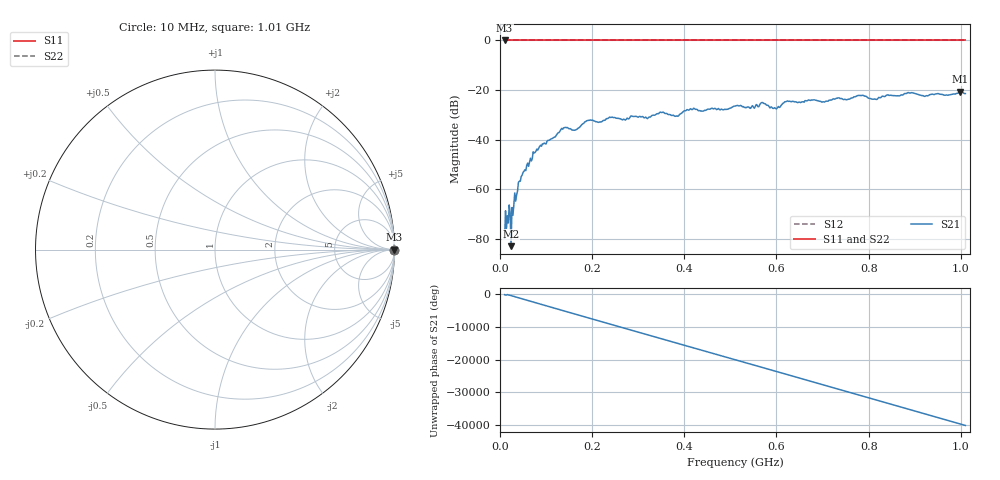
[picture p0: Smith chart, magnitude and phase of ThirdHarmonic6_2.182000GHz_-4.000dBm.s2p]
! 8/17/2025 2:01:18 AM
! C:\ANRITSUVNA\TEMP\TEMP.S2P
! CHANNEL.1
! TR.MEASUREMENT
! RAW.DATA
! RF.CORRECTION.OFF
! AVERAGING.OFF
! IF.BANDWIDTH: 5KHZ
! SWEEPTYPE:  FREQ.SWEEP(Linear)
! Reference Plane Port Info
! PORT:  PORT1  PORT2
! DISTANCE:  0  m  0  m
! TIME:  0  s  0  s
! PHASE.OFFSET:  0  deg.  0  deg.
! LOSS:  0  dB  0  dB
! REF.LOSS:  0  dB  0  dB
! REF.FREQ:  0  Hz  0  Hz
! Power Info
! POWER:  -20  dBm  -20  dBm
! EFF.POWER:  -20  dBm  -20  dBm
! SOURCE.ATTEN:  0  dB  0  dB
! TEST.ATTEN:  0  dB  0  dB
# GHZ S RI R 50.0
! FREQ.GHZ  S11RE  S11IM  S21RE  S21IM  S12RE  S12IM  S22RE  S22IM
!; PortSelection: Port_12
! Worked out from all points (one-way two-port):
!   501 points, 10 MHz to 1.01 GHz, reference 50 ohm
!   highest |S21| = -20.67 dB at 998 MHz (marker M1); lowest = -82.9 dB at 24 MHz (marker M2)
!   lowest |S11| = 0.0 dB at 10 MHz (marker M3)
!   |S11| at or under -10 dB: nowhere
!   |S22| runs from 0.0 to 0.0 dB; largest |S21 - S12| = 1.1
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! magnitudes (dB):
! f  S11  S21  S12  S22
! 10 MHz  0.0  -79.7  0.0  0.0
! 16 MHz  0.0  -70.7  0.0  0.0
! 24 MHz  0.0  -82.9  0.0  0.0
! 26 MHz  0.0  -67.4  0.0  0.0
! 30 MHz  0.0  -66.4  0.0  0.0
! 44 MHz  0.0  -56.8  0.0  0.0
! 76 MHz  0.0  -45.2  0.0  0.0
! 136 MHz  0.0  -35.8  0.0  0.0
! 162 MHz  0.0  -36.2  0.0  0.0
! 178 MHz  0.0  -33.9  0.0  0.0
! 192 MHz  0.0  -32.2  0.0  0.0
! 344 MHz  0.0  -29.6  0.0  0.0
! 384 MHz  0.0  -30.5  0.0  0.0
! 416 MHz  0.0  -27.9  0.0  0.0
! 510 MHz  0.0  -26.5  0.0  0.0
! 570 MHz  0.0  -25.0  0.0  0.0
! 596 MHz  0.0  -27.1  0.0  0.0
! 622 MHz  0.0  -24.6  0.0  0.0
! 678 MHz  0.0  -24.0  0.0  0.0
! 844 MHz  0.0  -22.1  0.0  0.0
! 998 MHz  0.0  -20.7  0.0  0.0
! 1.01 GHz  0.0  -21.4  0.0  0.0
